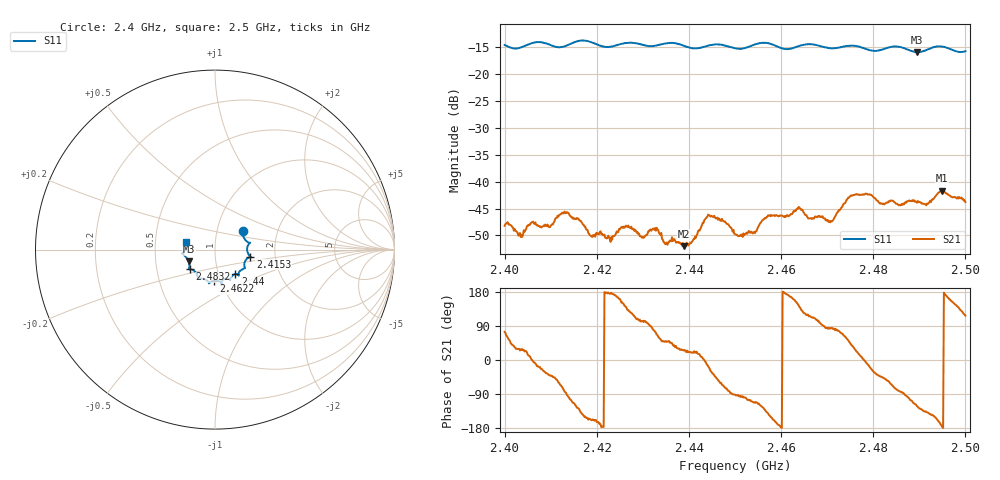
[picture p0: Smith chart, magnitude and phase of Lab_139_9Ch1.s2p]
# Hz S RI R 50
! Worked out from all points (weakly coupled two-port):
!   601 points, 2.4 GHz to 2.5 GHz, reference 50 ohm
!   highest |S21| = -41.66 dB at 2.4948 GHz (marker M1); lowest = -52.0 dB at 2.4388 GHz (marker M2)
!   lowest |S11| = -15.9 dB at 2.4895 GHz (marker M3), VSWR 1.38, Z = 36.9 - j5.01 ohm
!   |S11| at or under -10 dB: start of sweep to end of sweep
!   S12 and S22 are empty: the file has one direction only
!   S11 on the Smith chart (normalised r, x): 2.4 GHz: 1.33, +0.29; 2.4153 GHz: 1.48, -0.12; 2.44 GHz: 1.20, -0.34; 2.4622 GHz: 0.93, -0.33; 2.4832 GHz: 0.74, -0.17; 2.5 GHz: 0.72, +0.06
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2.4e9  0.1546 0.1063  0.00106 0.00373  0 0  0 0
2.4035e9  0.1696 0.0534  0.00269 0.00144  0 0  0 0
2.412667e9  0.1801 -0.01  0.0013 -0.00489  0 0  0 0
2.415333e9  0.1968 -0.0385  -0.0022 -0.00396  0 0  0 0
2.416667e9  0.2022 -0.0424  -0.00323 -0.00269  0 0  0 0
2.4225e9  0.1653 -0.0706  -0.00314 0.000111  0 0  0 0
2.426333e9  0.1675 -0.1015  -0.003 0.00247  0 0  0 0
2.429833e9  0.1546 -0.1089  -0.000673 0.00293  0 0  0 0
2.433333e9  0.1312 -0.1339  0.0017 0.0031  0 0  0 0
2.438833e9  0.1236 -0.1376  0.00227 0.00107  0 0  0 0
2.44e9  0.1138 -0.1369  0.00245 0.000947  0 0  0 0
2.444333e9  0.0851 -0.1653  0.00461 -0.00165  0 0  0 0
2.45e9  0.0645 -0.1626  -8.99e-05 -0.00325  0 0  0 0
2.462167e9  -0.00762 -0.1737  -0.00486 0.00118  0 0  0 0
2.466667e9  -0.0338 -0.1875  -0.00173 0.00415  0 0  0 0
2.470833e9  -0.0565 -0.1654  0.000389 0.00429  0 0  0 0
2.476e9  -0.0943 -0.1584  0.00667 0.00358  0 0  0 0
2.483167e9  -0.1392 -0.1096  0.00365 -0.00523  0 0  0 0
2.483333e9  -0.1401 -0.1095  0.0037 -0.00542  0 0  0 0
2.4895e9  -0.1466 -0.066  -0.0034 -0.00539  0 0  0 0
2.494833e9  -0.1805 -0.0204  -0.0082 -0.001  0 0  0 0
2.5e9  -0.1596 0.0397  -0.00293 0.00576  0 0  0 0
